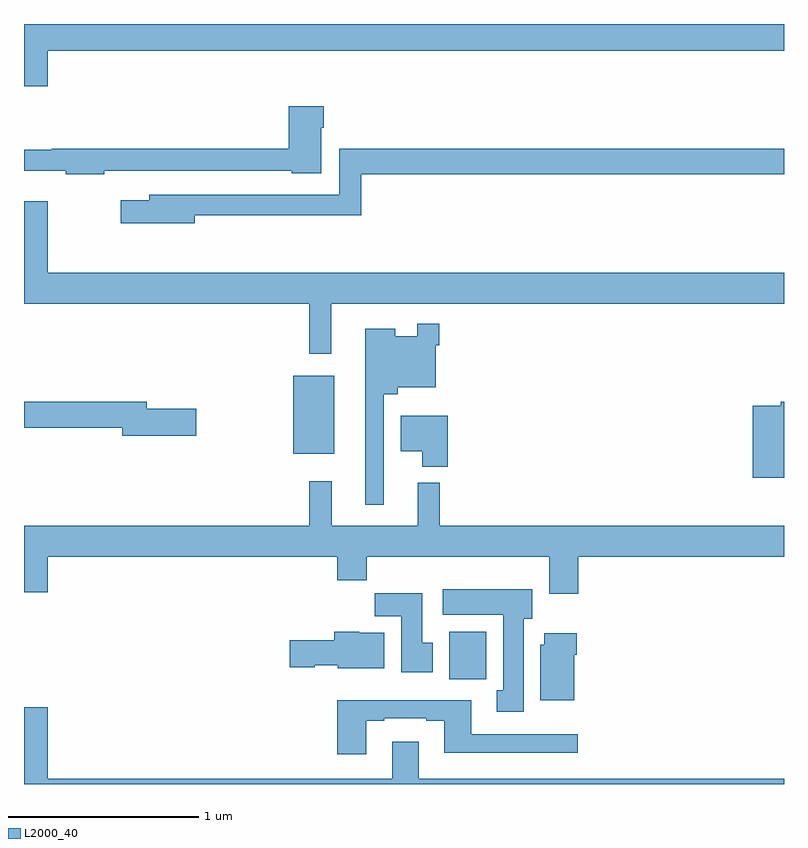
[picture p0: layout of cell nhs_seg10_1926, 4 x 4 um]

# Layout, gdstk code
import gdstk
lib = gdstk.Library(unit=1e-6, precision=1e-09)
def R(c, l, rs):  # rectangles x0, y0, x1, y1
    for r in rs: c.add(gdstk.rectangle(r[:2], r[2:], *l))
def P(c, l, *ps):  # polygons
    for p in ps: c.add(gdstk.Polygon(p, *l))
L2000_40 = (2000, 40)

nhs_seg10_1926 = lib.new_cell('nhs_seg10_1926')
R(nhs_seg10_1926, L2000_40, [(215.237,1253.052,215.433,1253.302), (214.418,1254.239,214.633,1254.649)])
P(nhs_seg10_1926, L2000_40, [(213.124,1256.36),(217,1256.36),(217,1256.5),(213,1256.5),(213,1256.172),(213.124,1256.172)],
  [(213.422,1255.728),(214.41,1255.728),(214.41,1255.715),(214.564,1255.715),(214.564,1255.955),(214.577,1255.955),(214.577,1256.068),(214.394,1256.068),(214.394,1255.844),(213.146,1255.844),(213.146,1255.837),(213,1255.837),(213,1255.727),(213.22,1255.727),(213.22,1255.708),(213.422,1255.708)],
  [(213.898,1255.494),(214.775,1255.494),(214.775,1255.708),(217,1255.708),(217,1255.844),(214.659,1255.844),(214.659,1255.602),(213.659,1255.602),(213.659,1255.573),(213.51,1255.573),(213.51,1255.451),(213.898,1255.451)],
  [(214.618,1255.028),(217,1255.028),(217,1255.192),(213.124,1255.192),(213.124,1255.567),(213,1255.567),(213,1255.028),(214.501,1255.028),(214.501,1254.765),(214.618,1254.765)],
  [(214.893,1254.551),(214.967,1254.551),(214.967,1254.587),(215.166,1254.587),(215.166,1254.809),(215.186,1254.809),(215.186,1254.922),(215.07,1254.922),(215.07,1254.856),(214.954,1254.856),(214.954,1254.895),(214.796,1254.895),(214.796,1253.97),(214.893,1253.97)],
  [(213.907,1254.476),(213.646,1254.476),(213.646,1254.512),(213,1254.512),(213,1254.376),(213.518,1254.376),(213.518,1254.334),(213.907,1254.334)],
  [(217,1254.512),(216.982,1254.512),(216.982,1254.492),(216.836,1254.492),(216.836,1254.111),(217,1254.111)],
  [(215.231,1254.439),(214.982,1254.439),(214.982,1254.251),(215.096,1254.251),(215.096,1254.17),(215.231,1254.17)],
  [(215.918,1253.696),(217,1253.696),(217,1253.86),(215.189,1253.86),(215.189,1254.085),(215.072,1254.085),(215.072,1253.86),(214.619,1253.86),(214.619,1254.094),(214.501,1254.094),(214.501,1253.86),(213,1253.86),(213,1253.508),(213.124,1253.508),(213.124,1253.696),(214.649,1253.696),(214.649,1253.572),(214.805,1253.572),(214.805,1253.696),(215.765,1253.696),(215.765,1253.502),(215.918,1253.502)],
  [(215.629,1253.37),(215.674,1253.37),(215.674,1253.524),(215.205,1253.524),(215.205,1253.39),(215.522,1253.39),(215.522,1252.993),(215.489,1252.993),(215.489,1252.881),(215.629,1252.881)],
  [(215.152,1253.244),(215.095,1253.244),(215.095,1253.503),(214.846,1253.503),(214.846,1253.384),(214.985,1253.384),(214.985,1253.088),(215.152,1253.088)],
  [(214.897,1253.296),(214.764,1253.296),(214.764,1253.302),(214.634,1253.302),(214.634,1253.256),(214.398,1253.256),(214.398,1253.114),(214.53,1253.114),(214.53,1253.126),(214.65,1253.126),(214.65,1253.108),(214.897,1253.108)],
  [(215.896,1253.18),(215.909,1253.18),(215.909,1253.293),(215.738,1253.293),(215.738,1253.232),(215.717,1253.232),(215.717,1252.94),(215.896,1252.94)],
  [(214.801,1252.833),(214.897,1252.833),(214.897,1252.845),(215.117,1252.845),(215.117,1252.833),(215.213,1252.833),(215.213,1252.664),(215.914,1252.664),(215.914,1252.761),(215.353,1252.761),(215.353,1252.942),(214.649,1252.942),(214.649,1252.656),(214.801,1252.656)],
  [(217,1252.528),(215.077,1252.528),(215.077,1252.723),(214.937,1252.723),(214.937,1252.528),(213.124,1252.528),(213.124,1252.903),(213,1252.903),(213,1252.5),(217,1252.5)])

lib.write_gds('nhs_seg10_1926.gds')
